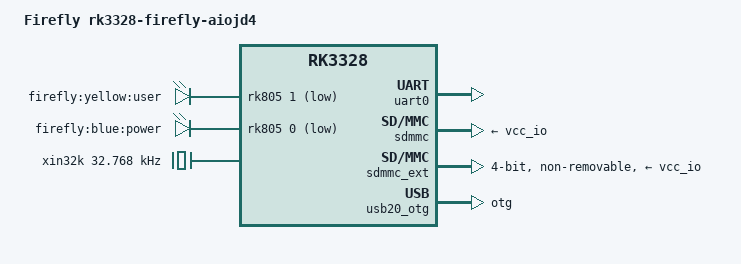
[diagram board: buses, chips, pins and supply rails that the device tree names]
/dts-v1/;
#include "rk3328-firefly-port.dtsi"
#include <dt-bindings/sensor-dev.h>
/ {
	model = "Firefly rk3328-firefly-aiojd4";
	compatible = "rockchip,rk3328-firefly-aiojd4", "rockchip,rk3328";

	leds {
		compatible = "gpio-leds";

		power {
			label = "firefly:yellow:user";
			linux,default-trigger = "ir-power-click";
			gpios = <&rk805 1 GPIO_ACTIVE_LOW>;
			default-state = "on";
		};

		user {
			label = "firefly:blue:power";
			linux,default-trigger = "ir-user-click";
			gpios = <&rk805 0 GPIO_ACTIVE_LOW>;
			default-state = "on";
		};
	};

	xin32k: xin32k {
		compatible = "fixed-clock";
		clock-frequency = <32768>;
		clock-output-names = "xin32k";
		#clock-cells = <0>;
	};
};

&uart0 {
       pinctrl-names = "default";
       pinctrl-0 = <&uart0_xfer>;
       status = "okay";
};

&uart1 {
       pinctrl-names = "default";
       pinctrl-0 = <&uart1_xfer>;
       status = "disable";
};

&uart2 {
       pinctrl-names = "default";
       pinctrl-0 = "&uart2m1_xfer";
       status = "disable";
};

&vccio_sd {
	gpios = <&gpio0 27 GPIO_ACTIVE_HIGH>;
	pinctrl-names = "default";
	pinctrl-0 = <&sd_pwr_1800_sel>;
};

&vcc_sd {
	status = "disabled";
};

&sdio_pwrseq {
	reset-gpios = <&gpio3 RK_PB0 GPIO_ACTIVE_LOW>;
};

&codec {
	io-channels = <&saradc 0>;
	hp-det-adc-value = <1800>;
};

&pinctrl {
	vccio-sd {
		sd_pwr_1800_sel:sd-pwr-1800-sel {
			rockchip,pins =
				<0 RK_PD3 RK_FUNC_GPIO &pcfg_pull_none>;
		};
	};
};

&rkvdec {
	vcodec-supply = <&vdd_logic>;
};

&sdmmc {
	vmmc-supply = <&vcc_io>;
};

&sdmmc_ext {
	bus-width = <4>;
	//cap-sd-highspeed;
	cap-sdio-irq;
	disable-wp;
	keep-power-in-suspend;
	max-frequency = <500000000>;
	mmc-pwrseq = <&sdio_pwrseq>;
	num-slots = <1>;
	non-removable;
	pinctrl-names = "default";
	pinctrl-0 = <&sdmmc0ext_clk &sdmmc0ext_cmd &sdmmc0ext_bus4>;
	supports-sdio;
	status = "okay";
	vmmc-supply = <&vcc_io>;
};

&usb20_otg {
	dr_mode = "otg";
};

&dmc {
	system-status-freq = <
		/*system status         freq(KHz)*/
		SYS_STATUS_NORMAL       786000
		SYS_STATUS_REBOOT       786000
		SYS_STATUS_SUSPEND      786000
		SYS_STATUS_VIDEO_1080P  786000
		SYS_STATUS_VIDEO_4K     786000
		SYS_STATUS_VIDEO_4K_10B 786000
		SYS_STATUS_PERFORMANCE  786000
		SYS_STATUS_BOOST        786000
	>;
};
